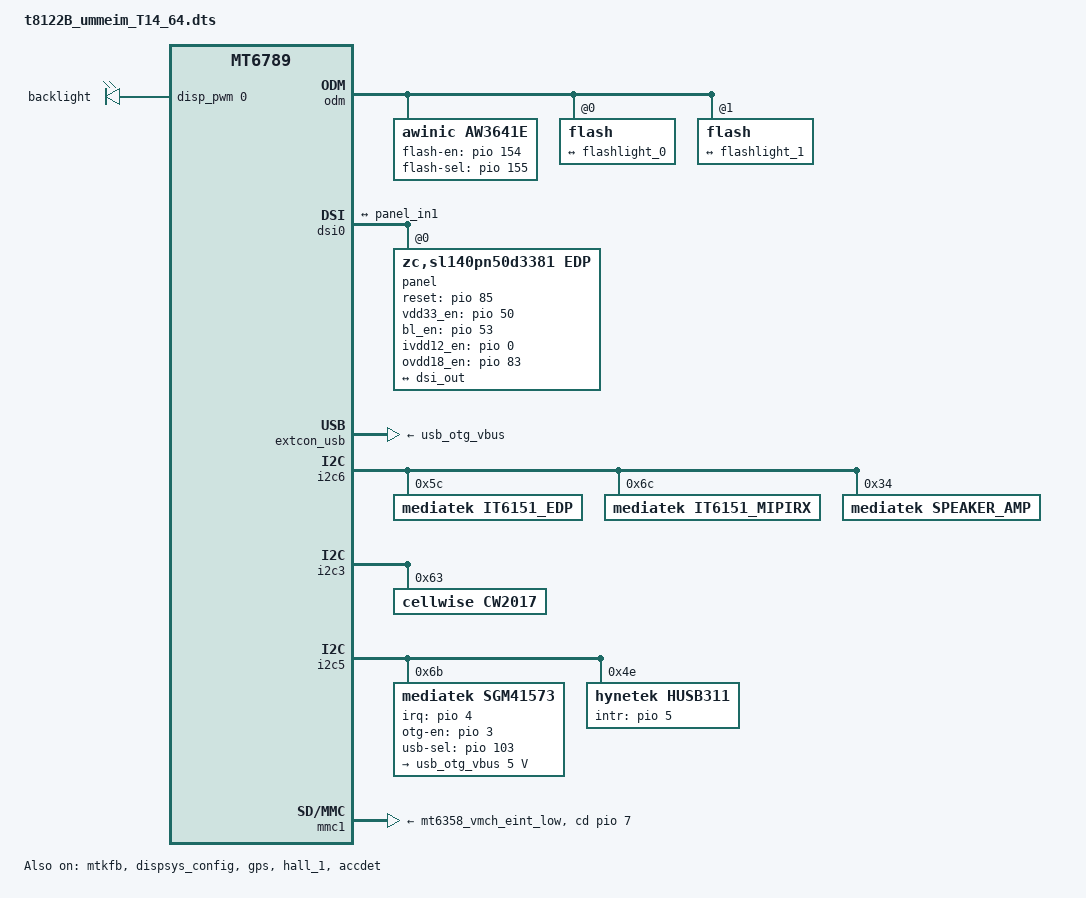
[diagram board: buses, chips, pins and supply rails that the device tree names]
// SPDX-License-Identifier: (GPL-2.0 OR MIT)
/*
 * Copyright (C) 2021 MediaTek Inc.
 */
/dts-v1/;
/plugin/;
#include <dt-bindings/interrupt-controller/arm-gic.h>
#include <dt-bindings/interrupt-controller/irq.h>
#include <dt-bindings/pinctrl/mt6789-pinfunc.h>
#include <dt-bindings/gpio/gpio.h>
#include "mediatek/cust_t8122B_ummeim_T14_64_camera.dtsi"

&odm {
	/* aw3641e flash  */
	aw3641e:aw3641e {
		compatible = "awinic,aw3641e";
		flash-en-gpio = <&pio 154 0>;
		flash-sel-gpio = <&pio 155 0>;
		status = "okay";
	};
	flash@0{
		reg = <0>;
		type = <0>;
		ct = <0>;
		part = <0>;
		port@0 {
			fl_core_0: endpoint {
				remote-endpoint = <&flashlight_0>;
			};
		};
	};
	flash@1{
		reg = <1>;
		type = <0>;
		ct = <1>;
		part = <0>;
		port@1 {
			fl_core_1: endpoint {
				remote-endpoint = <&flashlight_1>;
			};
		};
	};
};

&mtk_composite_v4l2_1 {
	port@0 {
		flashlight_0: endpoint {
			remote-endpoint = <&fl_core_0>;
		};
	};
	port@1 {
		flashlight_1: endpoint {
			remote-endpoint = <&fl_core_1>;
		};
	};
};
/* Microtrust(TEEI) utos real driver */
&utos{
       microtrust,real-drv = <1>;
};

&chosen {
};

&android {
	hardware = "mt8781";
};

&mtk_leds {
	compatible = "mediatek,pwm-leds";

	backlight {
		led_mode = <5>;
		pwms =  <&disp_pwm 0 39285>;
		pwm_config = <0 1 0 0 0>;
	};
};

&mtkfb {
	status = "okay";
};

&dispsys_config {
	status = "okay";
};

&dsi0 {
	status = "okay";
	#address-cells = <1>;
	#size-cells = <0>;
	panel@0 {
		compatible = "zc,sl140pn50d3381,edp";
		reg = <0>;
		reset-gpios = <&pio 85 0>;
		vdd33_en-gpios = <&pio 50 0>;
		bl_en-gpios = <&pio 53 0>;
		ivdd12_en-gpios = <&pio 0 0>;
		ovdd18_en-gpios = <&pio 83 0>;
		pinctrl-names = "default";
		port {
			panel_in1: endpoint {
				remote-endpoint = <&dsi_out>;
			};
		};
	};
	ports {
		port {
			dsi_out: endpoint {
				remote-endpoint = <&panel_in1>;
			};
		};
	};
};

/* GPS GPIO standardization start */
&pio {
	gps_pins_default: gps_default {
	};
	gps_l1_lna_pins_ol: gps_l1_lna@0 {
		pins_cmd_dat {
			pinmux = <PINMUX_GPIO25__FUNC_GPIO25>;
			output-low;
		};
	};
	gps_l1_lna_pins_dsp_ctrl: gps_l1_lna@1 {
		pins_cmd_dat {
			pinmux = <PINMUX_GPIO25__FUNC_GPS_L1_ELNA_EN>;
		};
	};
	gps_l1_lna_pins_oh: gps_l1_lna@2 {
		pins_cmd_dat {
			pinmux = <PINMUX_GPIO25__FUNC_GPIO25>;
			output-high;
		};
	};
	gps_l5_lna_pins_ol: gps_l5_lna@0 {
		pins_cmd_dat {
			pinmux = <PINMUX_GPIO26__FUNC_GPIO26>;
			output-low;
		};
	};
	gps_l5_lna_pins_dsp_ctrl: gps_l5_lna@1 {
		pins_cmd_dat {
			pinmux = <PINMUX_GPIO26__FUNC_GPS_L5_ELNA_EN>;
		};
	};
	gps_l5_lna_pins_oh: gps_l5_lna@2 {
		pins_cmd_dat {
			pinmux = <PINMUX_GPIO26__FUNC_GPIO26>;
			output-high;
		};
	};

	hall_intpin_default: pin_default {
		pins_cmd_dat {
			pinmux = <PINMUX_GPIO14__FUNC_GPIO14>;
			output-high;
		};
	};
	hall_intpin_cfg: pin_cfg {
		pins_cmd_dat {
			pinmux = <PINMUX_GPIO14__FUNC_GPIO14>;
			input-enable;
		};
	};

	i2c3_pin: i2c3_pin {
		pins_cmd0_dat {
			pinmux = <PINMUX_GPIO136__FUNC_SCL3>;
			bias-pull-up;
		};
		pins_cmd1_dat {
			pinmux = <PINMUX_GPIO137__FUNC_SDA3>;
			bias-pull-up;
		};
	};

	i2c5_pin: i2c5_pin {
		pins_cmd0_dat {
			pinmux = <PINMUX_GPIO140__FUNC_SCL5>;
			bias-pull-up;
		};
		pins_cmd1_dat {
			pinmux = <PINMUX_GPIO141__FUNC_SDA5>;
			bias-pull-up;
		};
	};

	i2c9_pin: i2c9_pin {
		pins_cmd0_dat {
			pinmux = <PINMUX_GPIO148__FUNC_SCL9>;
			bias-pull-up;
		};
		pins_cmd1_dat {
			pinmux = <PINMUX_GPIO149__FUNC_SDA9>;
			bias-pull-up;
		};
	};

	husb311_int: husb311_int_pin {
		pins_cmd0_dat {
			pinmux = <PINMUX_GPIO5__FUNC_GPIO5>;
			bias-pull-up;
			input-enable;
		};
	};
};
&gps {
	pinctrl-names = "default",
		"gps_l1_lna_disable",
		"gps_l1_lna_dsp_ctrl",
		"gps_l1_lna_enable",
		"gps_l5_lna_disable",
		"gps_l5_lna_dsp_ctrl",
		"gps_l5_lna_enable";
	pinctrl-0 = <&gps_pins_default>;
	pinctrl-1 = <&gps_l1_lna_pins_ol>;
	pinctrl-2 = <&gps_l1_lna_pins_dsp_ctrl>;
	pinctrl-3 = <&gps_l1_lna_pins_oh>;
	pinctrl-4 = <&gps_l5_lna_pins_ol>;
	pinctrl-5 = <&gps_l5_lna_pins_dsp_ctrl>;
	pinctrl-6 = <&gps_l5_lna_pins_oh>;
	status = "okay";
};
/* GPS GPIO standardization end */

#include "mediatek/cust_mt6789_touch_gt9xx_1920x1200.dtsi"

&charger {
	charger = <&sgm41573>;
	battery_cv = <8800000>;
	max_charger_voltage = <14000000>;
	min_charger_voltage = <4600000>;
	/* charging current */
	usb_charger_current = <200000>;
	ac_charger_current = <2000000>;
	ac_charger_input_current = <2000000>;
	charging_host_charger_current = <200000>;
};
&pdc {
	min_charger_voltage = <4600000>;
	pd_vbus_low_bound = <5000000>;
	pd_vbus_upper_bound = <12000000>;
};
&mtk_gauge {
	charger = <&sgm41573>;
};
&extcon_usb {
	status= "okay";
	vbus-supply = <&usb_otg_vbus>;
	vbus-voltage;
	vbus-current;
	charger = <&sgm41573>;
};
&mtk_ctd {
	bc12 = <&sgm41573>;
	bc12_sel = <0>;
};
&i2c6 {
	status = "okay";

	it6151_edp@5c {
		compatible = "mediatek,it6151_edp";
		reg = <0x5c>;
		status = "okay";
	};
	it6151_mipirx@6c {
		compatible = "mediatek,it6151_mipirx";
		reg = <0x6c>;
		status = "okay";
	};

	speaker_amp: speaker_amp@34 {
		compatible = "mediatek,speaker_amp";
		#sound-dai-cells = <0>;
		reg = <0x34>;
		status = "okay";
	};
};

&i2c3 {
	status = "okay";
	pinctrl-names = "default";
	pinctrl-0 = <&i2c3_pin>;
	cw2017@63 {
		compatible = "cellwise,cw2017";
		reg = <0x63>;
		status = "okay";
	};
};

&i2c5 {
	status = "okay";
	pinctrl-names = "default";
	pinctrl-0 = <&i2c5_pin>;

	
	sgm41573: sgm41573@6B {
		status = "okay";
		compatible = "mediatek,sgm41573";
		reg = <0x6B>;
		interrupt-parent = <&pio>;
		interrupts = <4 0>; 
		sgm,irq-gpio = <&pio 4 0>;
		sgm,otg-en-gpio = <&pio 3 0>;
		sgm,usb-sel-gpio = <&pio 103 0>;
		charger_name = "primary_chg";
		//interrupt-parent = <&pio>;
		//interrupts = <4 IRQ_TYPE_EDGE_FALLING>;
		//interrupt-names = "chr_stat";

		usb_otg_vbus: usb-otg-vbus {
			regulator-compatible = "usb-otg-vbus";
			regulator-name = "usb-otg-vbus";
			regulator-min-microvolt = <5000000>;
			regulator-max-microvolt = <5000000>;
		};
	};
};
&i2c5 {
	pinctrl-names = "default", "default";
	pinctrl-0 = <&i2c5_pin>;
	pinctrl-1 = <&husb311_int>;

	husb311@4e {
		compatible = "hynetek,husb311";
		reg = <0x4e>;
		status = "okay";
		
		interrupt-parent = <&pio>;
		//interrupts = <5 0x8>;
		tcpc-dual,supported_modes = <0>; /* 0: dfp/ufp, */
						 /* 1: dfp, 2: ufp */
		tcpc,name = "type_c_port0"; /* tcpc_device's name */
		tcpc,role_def = <4>; /* 0: SNK Only, 1: SRC Only, 2: DRP, */
					/* 3: Try.SRC, 4: Try.SNK */
		tcpc,rp_level = <2>; /* 0: Default, 1: 1.5, 2: 3.0 */
		tcpc,vconn_supply  = <0>;  /* 0: Never, 1: Always, */
					      /* 2: EMarkOnly, 3: StartOnly */
#if (CONFIG_MTK_GAUGE_VERSION == 30)
		tcpc,notifier_supply_num = <3>;
#else
		tcpc,notifier_supply_num = <2>;
#endif
		husb311pd,intr_gpio = <&pio 5 0x0>;
		husb311pd,intr_gpio_num = <5>;
		
		//gpio-controller;
		//#gpio-cells = <2>;
		
		charger = <&sgm41573>;

		pd-data {
			pd,vid = <0x2e99>;
			pd,pid = <0x0311>;
			pd,source-cap-ext = <0x171129cf 0x00000000 0x00000000
					     0x00000000 0x00000000 0x02000000>;
			pd,mfrs = "HynetekTCPC";

			/*
			 *	VSAFE5V = 0, MAX_POWER = 1, CUSTOM = 2,
			 *	MAX_POWER_LV = 0x21, MAX_POWER_LVIC = 0x31
			 *	MAX_POWER_HV = 0x41, MAX_POWER_HVIC = 0x51
			 */
			pd,charging_policy = <0x31>;

			/*
			 * Fixed 5V, 500 mA <0x00019032>
			 * Fixed 5V, 1A <0x00019064>
			 * Fixed 5V, 2A <0x000190c8>
			 * Fixed 5V, 3A <0x0001912c>
			 * Fixed 9V, 500 mA <0x0002d032>
			 * Fixed 9V, 1A <0x0002d064>
			 * Fixed 9V, 2A <0x0002d0c8>
			 * Fixed 9V, 3A <0x0002d12c>
			 * Fixed 12V,2A <0x0003c0c8>
			 * Variable 5-9V, 1A <0x8642d064>
			 * Variable 5-9V, 2A <0x8642d0c8>
			 * Variable 5-9V, 3A <0x8642d12c>
			 * PPS 3V~5.9V, 3A <0xC0761E3C>
			 */
			pd,source-pdo-size = <1>;
			pd,source-pdo-data = <0x00019032>;
			pd,sink-pdo-size = <1>;
			pd,sink-pdo-data = <0x0003c0c8>;

			/*
			 * No DP, host + device
			 *	pd,id-vdo-size = <3>;
			 *	pd,id-vdo-data = <0xd10029cf 0x0 0x17110000>;
			 * With DP
			 *	pd,id-vdo-size = <3>;
			 *	pd,id-vdo-data = <0xd60029cf 0x0 0x17110000
			 */

			pd,id-vdo-size = <3>;
			pd,id-vdo-data = <0xd10029cf 0x0 0x17110000>;

			bat,nr = <1>;
			pd,country_nr = <0>;

			bat-info0 {
				bat,vid = <0x29cf>;
				bat,pid = <0x1711>;
				bat,mfrs = "bat1";
				bat,design_cap = <3000>;
			};

			//bat-info1 {
			//	bat,vid = <0x8abc>;
			//	bat,pid = <0x5234>;
			//	bat,mfrs = "bat2";
			//	bat,design_cap = <4000>;
			//};

			//country0 {
			//	pd,country_code = <0x5457>;
			//	pd,country_len = <2>; /* max len = 26 */
			//	pd,country_data = <0xff 0xff>;
			//};

			//country1 {
			//	pd,country_code = <0x5553>;
			//	pd,country_len = <3>; /* max len = 26 */
			//	pd,country_data = <0xf1 0xf2 0xf3>;
			//};
		};
		dpm_caps {
			local_dr_power;
			local_dr_data;
			//local_ext_power;
			local_usb_comm;
			//local_usb_suspend;
			//local_high_cap;
			//local_give_back;
			local_no_suspend;
			local_vconn_supply;

			//attemp_discover_cable_dfp;
			attemp_enter_dp_mode;
			attemp_discover_cable;
			attemp_discover_id;

			/* 0: disable, 1: prefer_snk, 2: prefer_src */
			pr_check = <0>;
			//pr_reject_as_source;
			//pr_reject_as_sink;
			//pr_check_gp_source;
			//pr_check_gp_sink;

			/* 0: disable, 1: prefer_ufp, 2: prefer_dfp */
			dr_check = <0>;
			//dr_reject_as_dfp;
			//dr_reject_as_ufp;
		};
		displayport {
			/* connection type = "both", "ufp_d", "dfp_d" */
			1st_connection = "dfp_d";
			2nd_connection = "dfp_d";
			signal,dp_v13;
			//signal,dp_gen2;
			usbr20_not_used;
			typec,receptacle;
			ufp_d {
				//pin_assignment,mode_a;
				//pin_assignment,mode_b;
				//pin_assignment,mode_c;
				//pin_assignment,mode_d;
				//pin_assignment,mode_e;
			};
			dfp_d {
				/* Only support mode C & D */
				//pin_assignment,mode_a;
				//pin_assignment,mode_b;
				pin_assignment,mode_c;
				pin_assignment,mode_d;
				pin_assignment,mode_e;
				pin_assignment,mode_f;
			};
		};
	};
};
&sound {
	//mediatek,spk-i2s = <3 0>;
	ext-amp-gpio = <&pio 6 0>;
	mediatek,speaker-codec {
		sound-dai = <&speaker_amp>;
	};
};

&mmc1 {
	cd-gpios = <&pio 7 GPIO_ACTIVE_HIGH>;
	vmmc-supply = <&mt6358_vmch_eint_low>;
};

&hall_1 {
	status = "okay";

	pinctrl-names = "pin_default", "pin_cfg";
	pinctrl-0 = <&hall_intpin_default>;
	pinctrl-1 = <&hall_intpin_cfg>;

	interrupt-parent = <&pio>;
	interrupts = <14 IRQ_TYPE_LEVEL_LOW 14 0>;
	gpio_det_level_hall_pin1 = <&pio 14 0>;
};

&accdet {
	gpio_typec_earphone = <&pio 153 0>;
	status = "okay";
};

#include "mediatek/bat_setting/mt6789_battery_prop.dtsi"

#include <t8122B_ummeim_T14_64/cust.dtsi>
/*End of this file, DO NOT ADD ANYTHING HERE*/
